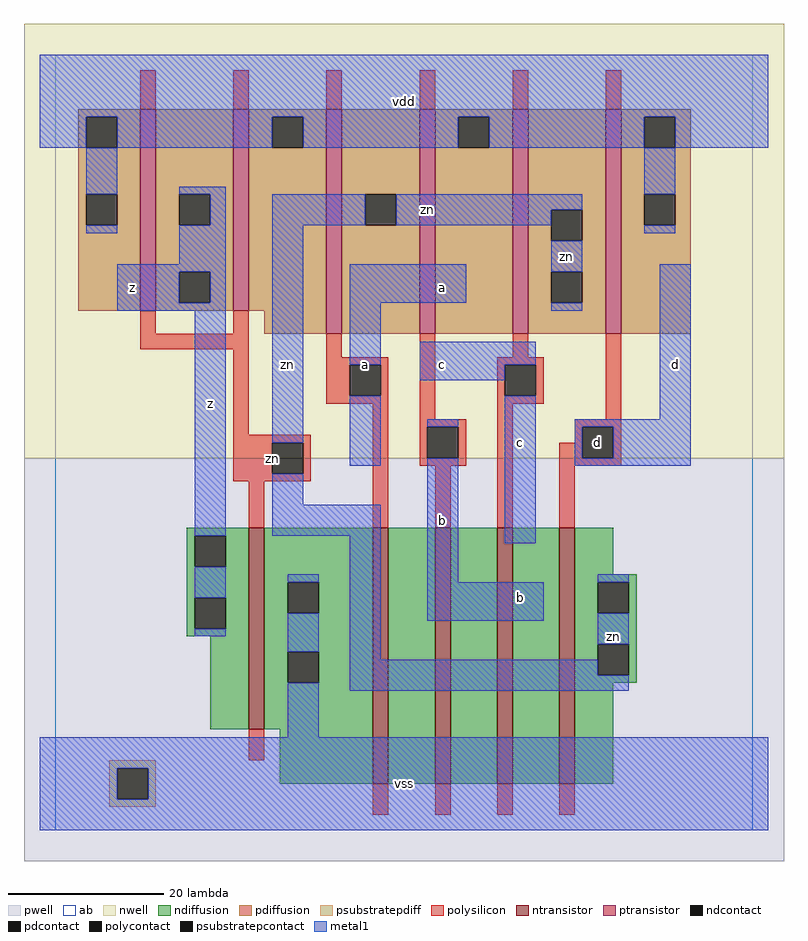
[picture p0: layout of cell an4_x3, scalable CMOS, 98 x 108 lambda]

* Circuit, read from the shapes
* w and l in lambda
.subckt an4_x3 a b c d vdd vss z zn
M1 vss zn z vss nfet w=26 l=2
M2 n1 a vss vss nfet w=33 l=2
M3 n2 b n1 vss nfet w=33 l=2
M4 n3 c n2 vss nfet w=33 l=2
M5 zn d n3 vss nfet w=33 l=2
M6 z zn vdd n4 pfet w=26 l=2 m=2
M7 zn a vdd n4 pfet w=29 l=2
M8 vdd b zn n4 pfet w=29 l=2
M9 zn c vdd n4 pfet w=29 l=2
M10 vdd d zn n4 pfet w=29 l=2
.ends

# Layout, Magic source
magic
tech scmos
<< ab >>
rect 0 0 90 100
<< pwell >>
rect -4 -4 94 48
<< nwell >>
rect -4 48 94 104
<< polysilicon >>
rect 11 93 13 98
rect 23 93 25 98
rect 35 93 37 98
rect 47 93 49 98
rect 59 93 61 98
rect 71 93 73 98
rect 11 64 13 67
rect 23 64 25 67
rect 11 62 25 64
rect 23 51 25 62
rect 35 61 37 64
rect 35 60 43 61
rect 35 56 38 60
rect 42 56 43 60
rect 35 55 43 56
rect 23 50 33 51
rect 23 46 28 50
rect 32 46 33 50
rect 23 45 33 46
rect 25 39 27 45
rect 41 39 43 55
rect 47 53 49 64
rect 59 61 61 64
rect 57 60 63 61
rect 57 56 58 60
rect 62 56 63 60
rect 57 55 63 56
rect 47 52 53 53
rect 47 48 48 52
rect 52 48 53 52
rect 47 47 53 48
rect 49 39 51 47
rect 57 39 59 55
rect 71 53 73 64
rect 67 52 73 53
rect 67 50 68 52
rect 65 48 68 50
rect 72 48 73 52
rect 65 47 73 48
rect 65 39 67 47
rect 25 9 27 13
rect 41 2 43 6
rect 49 2 51 6
rect 57 2 59 6
rect 65 2 67 6
<< ndiffusion >>
rect 17 38 25 39
rect 17 34 18 38
rect 22 34 25 38
rect 17 30 25 34
rect 17 26 18 30
rect 22 26 25 30
rect 17 25 25 26
rect 20 13 25 25
rect 27 32 41 39
rect 27 28 30 32
rect 34 28 41 32
rect 27 23 41 28
rect 27 19 30 23
rect 34 19 41 23
rect 27 13 41 19
rect 29 6 41 13
rect 43 6 49 39
rect 51 6 57 39
rect 59 6 65 39
rect 67 33 72 39
rect 67 32 75 33
rect 67 28 70 32
rect 74 28 75 32
rect 67 24 75 28
rect 67 20 70 24
rect 74 20 75 24
rect 67 19 75 20
rect 67 6 72 19
<< pdiffusion >>
rect 3 92 11 93
rect 3 88 4 92
rect 8 88 11 92
rect 3 82 11 88
rect 3 78 4 82
rect 8 78 11 82
rect 3 67 11 78
rect 13 82 23 93
rect 13 78 16 82
rect 20 78 23 82
rect 13 72 23 78
rect 13 68 16 72
rect 20 68 23 72
rect 13 67 23 68
rect 25 92 35 93
rect 25 88 28 92
rect 32 88 35 92
rect 25 67 35 88
rect 27 64 35 67
rect 37 82 47 93
rect 37 78 40 82
rect 44 78 47 82
rect 37 64 47 78
rect 49 92 59 93
rect 49 88 52 92
rect 56 88 59 92
rect 49 64 59 88
rect 61 80 71 93
rect 61 76 64 80
rect 68 76 71 80
rect 61 72 71 76
rect 61 68 64 72
rect 68 68 71 72
rect 61 64 71 68
rect 73 92 82 93
rect 73 88 76 92
rect 80 88 82 92
rect 73 82 82 88
rect 73 78 76 82
rect 80 78 82 82
rect 73 64 82 78
<< metal1 >>
rect -2 92 92 100
rect -2 88 4 92
rect 8 88 28 92
rect 32 88 52 92
rect 56 88 76 92
rect 80 88 92 92
rect 4 82 8 88
rect 4 77 8 78
rect 16 82 22 83
rect 76 82 80 88
rect 20 78 22 82
rect 16 73 22 78
rect 8 72 22 73
rect 8 68 16 72
rect 20 68 22 72
rect 8 67 22 68
rect 18 38 22 67
rect 28 78 40 82
rect 44 80 68 82
rect 44 78 64 80
rect 28 50 32 78
rect 76 77 80 78
rect 38 68 53 73
rect 64 72 68 76
rect 38 60 42 68
rect 64 67 68 68
rect 47 60 62 63
rect 47 58 58 60
rect 38 47 42 56
rect 48 52 52 53
rect 28 42 32 46
rect 28 38 42 42
rect 18 30 22 34
rect 18 25 22 26
rect 30 32 34 33
rect 30 23 34 28
rect 30 12 34 19
rect 38 22 42 38
rect 48 32 52 48
rect 58 37 62 56
rect 78 53 82 73
rect 67 52 82 53
rect 67 48 68 52
rect 72 48 82 52
rect 67 47 82 48
rect 70 32 74 33
rect 48 27 63 32
rect 70 24 74 28
rect 38 20 70 22
rect 38 18 74 20
rect -2 8 92 12
rect -2 4 8 8
rect 12 4 92 8
rect -2 0 92 4
<< ntransistor >>
rect 25 13 27 39
rect 41 6 43 39
rect 49 6 51 39
rect 57 6 59 39
rect 65 6 67 39
<< ptransistor >>
rect 11 67 13 93
rect 23 67 25 93
rect 35 64 37 93
rect 47 64 49 93
rect 59 64 61 93
rect 71 64 73 93
<< polycontact >>
rect 38 56 42 60
rect 28 46 32 50
rect 58 56 62 60
rect 48 48 52 52
rect 68 48 72 52
<< ndcontact >>
rect 18 34 22 38
rect 18 26 22 30
rect 30 28 34 32
rect 30 19 34 23
rect 70 28 74 32
rect 70 20 74 24
<< pdcontact >>
rect 4 88 8 92
rect 4 78 8 82
rect 16 78 20 82
rect 16 68 20 72
rect 28 88 32 92
rect 40 78 44 82
rect 52 88 56 92
rect 64 76 68 80
rect 64 68 68 72
rect 76 88 80 92
rect 76 78 80 82
<< psubstratepcontact >>
rect 8 4 12 8
<< psubstratepdiff >>
rect 7 8 13 9
rect 7 4 8 8
rect 12 4 13 8
rect 7 3 13 4
<< labels >>
rlabel polysilicon 28 48 28 48 6 zn
rlabel metal1 10 70 10 70 6 z
rlabel metal1 20 55 20 55 6 z
rlabel metal1 30 60 30 60 6 zn
rlabel metal1 45 6 45 6 6 vss
rlabel metal1 50 40 50 40 6 b
rlabel metal1 40 60 40 60 6 a
rlabel metal1 50 60 50 60 6 c
rlabel metal1 50 70 50 70 6 a
rlabel metal1 45 94 45 94 6 vdd
rlabel metal1 60 30 60 30 6 b
rlabel metal1 60 50 60 50 6 c
rlabel polycontact 70 50 70 50 6 d
rlabel metal1 66 74 66 74 6 zn
rlabel metal1 48 80 48 80 6 zn
rlabel metal1 72 25 72 25 6 zn
rlabel metal1 80 60 80 60 6 d
<< end >>
